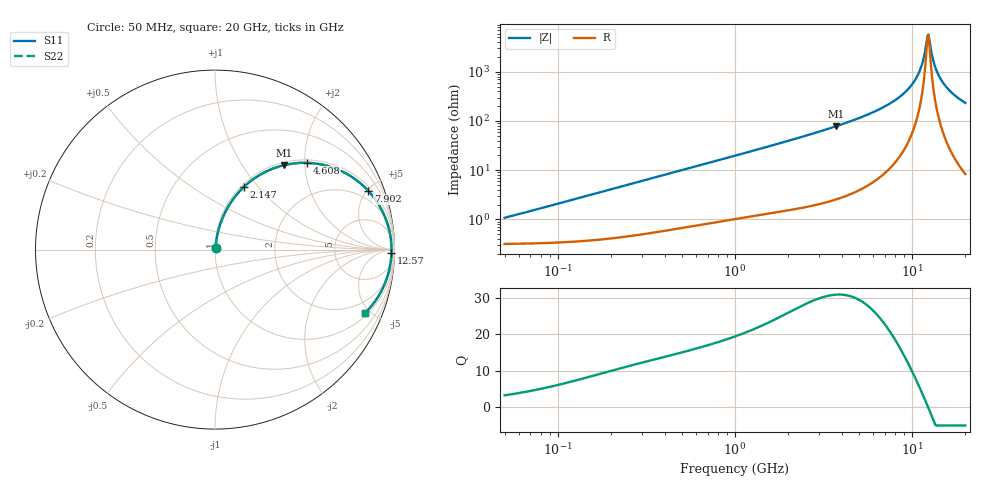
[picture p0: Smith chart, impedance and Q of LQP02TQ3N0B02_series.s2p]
!Murata Part Number: LQP02TQ3N0B02
!These Parameters are Measured in Series Mode Connection
!  o--[Z]--o
!Port1  Port2
!  o-------o
!Freq. Start=50[MHz] Stop=20[GHz], 401[Steps]
# Hz S RI R 50
!Freq.(Hz) S11(Real) S11(Imag) S21(Real) S21(Imag) S12(Real) S12(Imag) S22(Real) S22(Imag)
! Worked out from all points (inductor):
!   401 points, 50 MHz to 20 GHz, reference 50 ohm
!   read as one part in series: L = 3.28 nH near 51.52 MHz
!   highest Q = 30.8 at 3.736 GHz (marker M1), where L = 3.35 nH
!   self-resonance near 12.2 GHz
!   S11 on the Smith chart (normalised r, x): 50 MHz: 1.01, +0.02; 2.147 GHz: 1.03, +0.85; 4.608 GHz: 1.07, +2.05; 7.902 GHz: 1.27, +5.10; 12.57 GHz: 60, -60; 20 GHz: 1.17, -4.66
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5e7  0.00326 0.0102  0.9967 -0.0102  0.9967 -0.0102  0.00326 0.0102
1.364002e8  0.00437 0.0278  0.9956 -0.0278  0.9956 -0.0278  0.00437 0.0278
3.721004e8  0.0111 0.0737  0.9889 -0.0737  0.9889 -0.0737  0.0111 0.0737
1e9  0.0463 0.1858  0.9537 -0.1858  0.9537 -0.1858  0.0463 0.1858
2.146657e9  0.1627 0.3508  0.8373 -0.3508  0.8373 -0.3508  0.1627 0.3508
2.728004e9  0.2399 0.4102  0.7601 -0.4102  0.7601 -0.4102  0.2399 0.4102
3.736399e9  0.386 0.4709  0.614 -0.4709  0.614 -0.4709  0.386 0.4709
4.608136e9  0.511 0.4836  0.489 -0.4836  0.489 -0.4836  0.511 0.4836
5.856089e9  0.6697 0.4522  0.3303 -0.4522  0.3303 -0.4522  0.6697 0.4522
7.442007e9  0.8214 0.3599  0.1786 -0.3599  0.1786 -0.3599  0.8214 0.3599
7.901521e9  0.8546 0.3272  0.1454 -0.3272  0.1454 -0.3272  0.8546 0.3272
9.178299e9  0.9238 0.2306  0.0762 -0.2306  0.0762 -0.2306  0.9238 0.2306
1.034674e10  0.9616 0.1413  0.0384 -0.1413  0.0384 -0.1413  0.9616 0.1413
1.131968e10  0.978 0.0696  0.022 -0.0696  0.022 -0.0696  0.978 0.0696
1.201863e10  0.9828 0.0206  0.0172 -0.0206  0.0172 -0.0206  0.9828 0.0206
1.220001e10  0.9833 0.00824  0.0167 -0.00824  0.0167 -0.00824  0.9833 0.00824
1.257102e10  0.9832 -0.0164  0.0168 0.0164  0.0168 0.0164  0.9832 -0.0164
1.314879e10  0.9808 -0.0533  0.0192 0.0533  0.0192 0.0533  0.9808 -0.0533
1.354865e10  0.9776 -0.0778  0.0224 0.0778  0.0224 0.0778  0.9776 -0.0778
1.460232e10  0.9644 -0.1378  0.0356 0.1378  0.0356 0.1378  0.9644 -0.1378
1.670968e10  0.9225 -0.2392  0.0775 0.2392  0.0775 0.2392  0.9225 -0.2392
2e10  0.8359 -0.353  0.1641 0.353  0.1641 0.353  0.8359 -0.353
